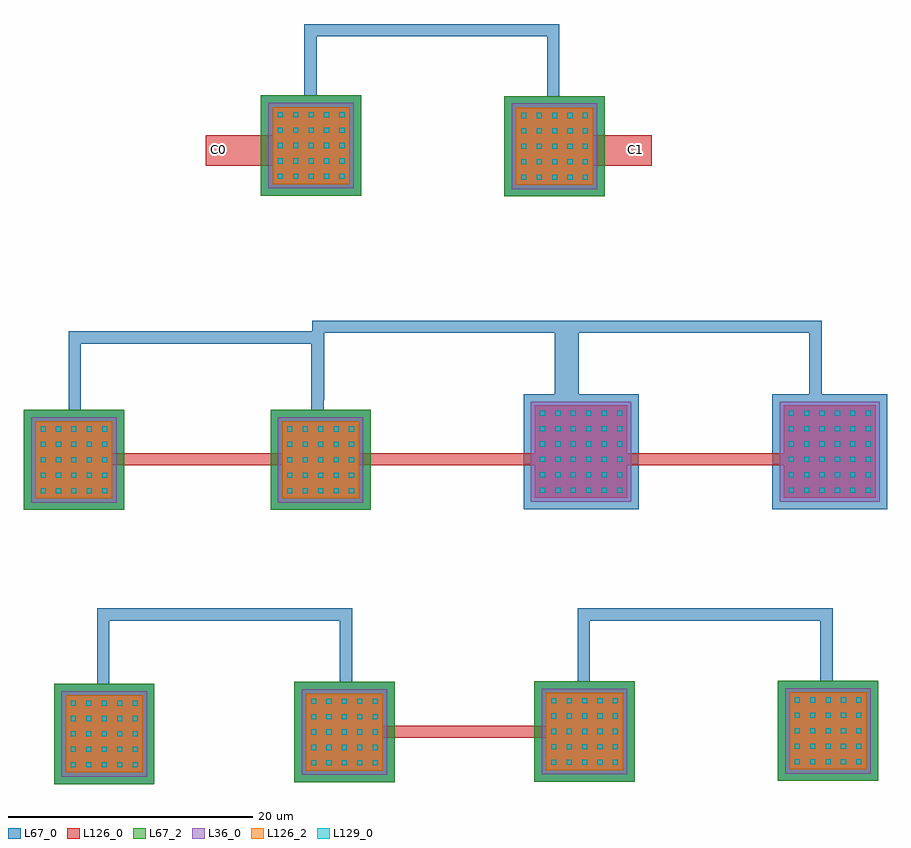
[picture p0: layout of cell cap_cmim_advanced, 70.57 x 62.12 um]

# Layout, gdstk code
import gdstk
lib = gdstk.Library(unit=1e-6, precision=1e-09)
def R(c, l, rs):  # rectangles x0, y0, x1, y1
    for r in rs: c.add(gdstk.rectangle(r[:2], r[2:], *l))
def A(c, l, x, y, w, h, nx, ny, dx, dy):  # array of equal rectangles
    R(c, l, [(x+i*dx, y+j*dy, x+i*dx+w, y+j*dy+h) for i in range(nx) for j in range(ny)])
L36_0 = (36, 0)
L67_0 = (67, 0)
L67_2 = (67, 2)
L126_0 = (126, 0)
L126_2 = (126, 2)
L129_0 = (129, 0)

cmim = lib.new_cell('cmim')
R(cmim, L36_0, [(0,0,6.99,6.99)])
R(cmim, L67_0, [(-0.6,-0.6,7.59,7.59)])
R(cmim, L126_0, [(0.345,0.345,6.645,6.645)])
A(cmim, L129_0, 0.765, 0.765, 0.42, 0.42, 5, 5, 1.26, 1.26)

cmim_1 = lib.new_cell('cmim$1')
R(cmim_1, L36_0, [(0,0,8.19,8.19)])
R(cmim_1, L67_0, [(-0.6,-0.6,8.79,8.79)])
R(cmim_1, L126_0, [(0.315,0.315,7.875,7.875)])
A(cmim_1, L129_0, 0.735, 0.735, 0.42, 0.42, 6, 6, 1.26, 1.26)

cmim_2 = lib.new_cell('cmim$2')
R(cmim_2, L36_0, [(0,0,7,7)])
R(cmim_2, L67_0, [(-0.6,-0.6,7.6,7.6)])
R(cmim_2, L126_0, [(0.35,0.35,6.65,6.65)])
A(cmim_2, L129_0, 0.77, 0.77, 0.42, 0.42, 5, 5, 1.26, 1.26)

cap_cmim_advanced = lib.new_cell('cap_cmim_advanced')
R(cap_cmim_advanced, L67_2, [(20.93,-23.005,29.12,-14.815), (40.56,-22.855,48.75,-14.665), (60.19,-22.805,68.38,-14.615), (80.095,-22.755,88.285,-14.565), (18.45,-0.6,26.64,7.59), (38.62,-0.6,46.81,7.59), (57.735,25.02,65.93,33.22), (37.835,25.08,46.035,33.28)])
R(cap_cmim_advanced, L126_0, [(33.31,27.535,39.96,30.025), (63.145,27.535,69.795,30.025)])
R(cap_cmim_advanced, L126_2, [(21.87,-22.065,28.17,-15.765), (41.5,-21.915,47.8,-15.615), (61.13,-21.865,67.43,-15.565), (81.035,-21.815,87.335,-15.515), (19.39,0.34,25.69,6.64), (39.56,0.345,45.86,6.64), (58.68,25.965,64.98,32.265), (38.78,26.025,45.08,32.325)])
cap_cmim_advanced.add(gdstk.FlexPath([(21.987,3.535),(43.69,3.535)], 1, ends="flush", simple_path=True, layer=126, datatype=0))  # L126_0
cap_cmim_advanced.add(gdstk.FlexPath([(62.739,3.535),(84.442,3.535)], 1, ends="flush", simple_path=True, layer=126, datatype=0))  # L126_0
cap_cmim_advanced.add(gdstk.FlexPath([(42.33,3.535),(64.033,3.535)], 1, ends="flush", simple_path=True, layer=126, datatype=0))  # L126_0
cap_cmim_advanced.add(gdstk.FlexPath([(43.955,-18.725),(65.658,-18.725)], 1, ends="flush", simple_path=True, layer=126, datatype=0))  # L126_0
cap_cmim_advanced.add(gdstk.FlexPath([(42.453,7.545),(42.453,13.5),(22.62,13.5),(22.62,7.545)], 1, ends="flush", simple_path=True, layer=67, datatype=0))  # L67_0
cap_cmim_advanced.add(gdstk.FlexPath([(83.16,8.415),(83.16,14.37),(63.327,14.37),(63.327,8.415)], 1, ends="flush", simple_path=True, layer=67, datatype=0))  # L67_0
cap_cmim_advanced.add(gdstk.FlexPath([(62.34,8.415),(62.34,14.37),(42.507,14.37),(42.507,8.415)], 1, ends="flush", simple_path=True, layer=67, datatype=0))  # L67_0
cap_cmim_advanced.add(gdstk.FlexPath([(61.715,32.66),(61.715,38.615),(41.882,38.615),(41.882,32.66)], 1, ends="flush", simple_path=True, layer=67, datatype=0))  # L67_0
cap_cmim_advanced.add(gdstk.FlexPath([(44.783,-15.11),(44.783,-9.155),(24.95,-9.155),(24.95,-15.11)], 1, ends="flush", simple_path=True, layer=67, datatype=0))  # L67_0
cap_cmim_advanced.add(gdstk.FlexPath([(84.053,-15.11),(84.053,-9.155),(64.22,-9.155),(64.22,-15.11)], 1, ends="flush", simple_path=True, layer=67, datatype=0))  # L67_0
cap_cmim_advanced.add(gdstk.Reference(cmim, (19.05,0)))
cap_cmim_advanced.add(gdstk.Reference(cmim, (39.22,0)))
cap_cmim_advanced.add(gdstk.Reference(cmim_1, (59.905,0.06)))
cap_cmim_advanced.add(gdstk.Reference(cmim_1, (80.23,0.06)))
cap_cmim_advanced.add(gdstk.Reference(cmim_2, (38.435,25.68)))
cap_cmim_advanced.add(gdstk.Reference(cmim_2, (58.335,25.62)))
cap_cmim_advanced.add(gdstk.Reference(cmim, (41.16,-22.255)))
cap_cmim_advanced.add(gdstk.Reference(cmim, (60.79,-22.205)))
cap_cmim_advanced.add(gdstk.Reference(cmim, (80.695,-22.155)))
cap_cmim_advanced.add(gdstk.Reference(cmim, (21.53,-22.405)))
cap_cmim_advanced.add(gdstk.Label('C0', (34.325,28.88), layer=126, texttype=1))
cap_cmim_advanced.add(gdstk.Label('C1', (68.485,28.835), layer=126, texttype=1))

lib.write_gds('cap_cmim_advanced.gds')
